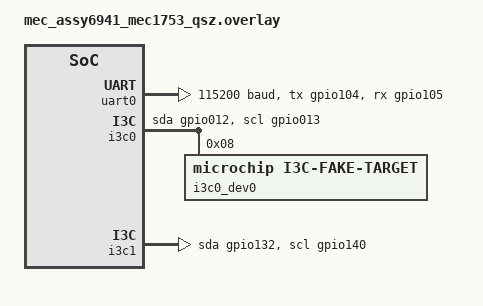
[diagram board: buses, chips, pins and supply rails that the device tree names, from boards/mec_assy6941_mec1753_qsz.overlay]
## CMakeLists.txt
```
cmake_minimum_required(VERSION 3.20.0)

# DTS_ROOT must be set before find_package(Zephyr) for binding discovery.
list(APPEND DTS_ROOT ${CMAKE_CURRENT_LIST_DIR}/../common)

find_package(Zephyr REQUIRED HINTS $ENV{ZEPHYR_BASE})
project(i3c_loopback)

# Reuse host.c and target.c from the standalone apps; no duplication.
target_sources(app PRIVATE
    src/main.c
    ../host/src/host.c
    ../target/src/target.c
    ../common/src/crc8.c
    ../common/src/i3c_fake_target.c
)

target_include_directories(app PRIVATE ../common/src)
```

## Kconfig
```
mainmenu "I3C Loopback Test Application"

source "Kconfig.zephyr"

config I3C_TEST_CASE
	int "Test group to run: 0=data_transfer 1=ccc_commands 2=ibi 3=advanced"
	default 0
	range 0 3

config I3C_TEST_CRC_CHECK
	bool "Enable CRC-8 loopback data verification"
	default y

config I3C_TARGET_ECHO_MODE
	bool "Run target as a simple echo server (enabled for loopback)"
	default y

config I3C_HOST_TARGET_PID_HI
	hex "Target PID high 16 bits (bits 47:32)"
	default 0xB012

config I3C_HOST_TARGET_PID_LO
	hex "Target PID low 32 bits (bits 31:0)"
	default 0x3456789A

config I3C_HOST_TARGET_STATIC_ADDR
	hex "Target static address used for SETDASA in DT"
	default 0x08

config I3C_FAKE_TARGET_INIT_PRIORITY
	int "Init priority for the fake target stub driver"
	default 90

config I3C_TEST_HOST_LOG_LEVEL
	int "Host module log level (0=off 1=ERR 2=WRN 3=INF 4=DBG)"
	default 3

config I3C_TEST_TARGET_LOG_LEVEL
	int "Target module log level (0=off 1=ERR 2=WRN 3=INF 4=DBG)"
	default 3
```

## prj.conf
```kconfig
CONFIG_LSM6DSV16X=n
CONFIG_LSM6DSVXXX=n
CONFIG_LPS2XDF=n
CONFIG_ICM45686=n

CONFIG_EVENTS=y
CONFIG_I3C=y
CONFIG_I3C_USE_IBI=y
CONFIG_I3C_TARGET_BUFFER_MODE=y

CONFIG_LOG=y
CONFIG_LOG_DEFAULT_LEVEL=4
CONFIG_LOG_OVERRIDE_LEVEL=4
CONFIG_LOG_MODE_IMMEDIATE=y
CONFIG_LOG_BUFFER_SIZE=4096

# Immediate logging formats on the caller's stack
CONFIG_MAIN_STACK_SIZE=4096
CONFIG_I3C_IBI_WORKQUEUE_STACK_SIZE=2048
CONFIG_STACK_SENTINEL=y
#CONFIG_DEBUG_OPTIMIZATIONS=y

CONFIG_I3C_TEST_CASE=0
CONFIG_I3C_TEST_CRC_CHECK=y
CONFIG_I3C_TARGET_ECHO_MODE=y
```

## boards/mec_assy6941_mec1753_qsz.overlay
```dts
/*
 * Copyright (c) 2026 Microchip Technology Inc.
 * SPDX-License-Identifier: Apache-2.0
 */

/ {
	chosen {
		zephyr,console = &uart0;
		zephyr,shell-uart = &uart0;
	};
};

&uart0 {
	compatible = "microchip,xec-uart";
	status = "okay";
	host-io = <0x3F8>;
	clock-frequency = <1843200>;
	current-speed = <115200>;
	girqs = <MCHP_XEC_ECIA_GIRQ_ENC(15, 0)>;
	pcr-scr = <MCHP_XEC_SCR_ENCODE(2, 1)>;
	pinctrl-0 = <&uart0_tx_gpio104 &uart0_rx_gpio105>;
	pinctrl-names = "default";
};

&uart1 {
	status = "disabled";
};

/* i3c0: primary controller (host thread) */
&i3c0 {
	pinctrl-0 = <&i3c01_host_sda_gpio012 &i3c01_host_scl_gpio013>;
	pinctrl-names = "default";
	port-sel = <1>;
	i3c-scl-hz = <DT_FREQ_K(12500)>;
	od-thigh-min-ns = <500>;
	od-tlow-min-ns = <500>;
	primary-controller-da = <0x10>;
	status = "okay";

	/*
	 * Represents i3c1 on the bus as seen by the i3c0 host.
	 * The PID and static address match the tgt-pid and static-address
	 * of &i3c1, programmed when i3c1 is initialized, so SETDASA succeeds
	 * during the i3c0 bus initialization. They also match TGT_PID /
	 * TGT_STATIC_ADDR in target/src/target.c.
	 */
	i3c0_dev0: dev0@B0123456789A {
		compatible = "microchip,i3c-fake-target";
		reg = <0x08 0xB012 0x3456789A>;
		assigned-address = <0x08>;
		status = "okay";
	};
};

/* i3c1: dual-role instance booted as I3C target (target thread) */
&i3c1 {
	pinctrl-0 = <&i3c00_target_sda_gpio132 &i3c00_target_scl_gpio140>;
	pinctrl-names = "default";
	port-sel = <0>;
	/* Device role [7:6] = target: boot as target, never as a second controller */
	bcr = <0x06>;
	/* Target identity set at init, before the i3c0 bus initialization */
	static-address = <0x08>;
	tgt-pid = <0xB012 0x3456789A>;
	maximum-read = <128>;
	maximum-write = <128>;
	status = "okay";
};
```

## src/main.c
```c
/*
 * Copyright (c) 2026 Microchip Technology Inc.
 * SPDX-License-Identifier: Apache-2.0
 */

#include <zephyr/kernel.h>
#include <zephyr/device.h>
#include <zephyr/logging/log.h>

LOG_MODULE_REGISTER(i3c_loopback, CONFIG_I3C_TEST_HOST_LOG_LEVEL);

/*
 * Negative delay defers thread start until k_thread_start() is called.
 * See Zephyr K_THREAD_DEFINE documentation.
 */
#define EC_WAIT_FOREVER               (-1)
#define I3C_HOST_TASK_PRIORITY        6u
#define I3C_HOST_TASK_STACK_SIZE      4096U
#define I3C_TARGET_TASK_PRIORITY      7u
#define I3C_TARGET_TASK_STACK_SIZE    4096U

BUILD_ASSERT(IS_POWER_OF_TWO(I3C_HOST_TASK_STACK_SIZE),
	     "I3C host task stack size must be a power of 2");
BUILD_ASSERT(IS_POWER_OF_TWO(I3C_TARGET_TASK_STACK_SIZE),
	     "I3C target task stack size must be a power of 2");

const struct device *const host_dev   = DEVICE_DT_GET(DT_NODELABEL(i3c0));
const struct device *const target_dev = DEVICE_DT_GET(DT_NODELABEL(i3c1));

/*
 * Single shared event object.  Bit allocation (must match host.c and target.c):
 *   BIT(0) = EVT_IBI_TIR_MDB_AE  — host IBI callback → host TC2
 *   BIT(1) = EVT_IBI_ANY         — host IBI callback → host TC2
 *   BIT(2) = EVT_IBI_HOTJOIN     — host HJ callback  → host TC2
 *   BIT(3) = EVT_DATA_RECEIVED   — target write_cb   → target echo loop
 *   BIT(4) = EVT_TARGET_READY    — target register   → host task startup
 */
K_EVENT_DEFINE(loopback_sync_events);

extern void i3c_host_xfer_task(void *p1, void *p2, void *p3);
extern void i3c_target_xfer_task(void *p1, void *p2, void *p3);
extern int  setup_i3c_host(const struct device *dev);
extern int  setup_i3c_target(const struct device *dev);

K_THREAD_DEFINE(host_task_id, I3C_HOST_TASK_STACK_SIZE,
		i3c_host_xfer_task,
		(void *)host_dev, (void *)&loopback_sync_events, NULL,
		I3C_HOST_TASK_PRIORITY,
		K_USER | K_INHERIT_PERMS | K_ESSENTIAL,
		EC_WAIT_FOREVER);

K_THREAD_DEFINE(target_task_id, I3C_TARGET_TASK_STACK_SIZE,
		i3c_target_xfer_task,
		(void *)target_dev, (void *)&loopback_sync_events, NULL,
		I3C_TARGET_TASK_PRIORITY,
		K_USER | K_INHERIT_PERMS | K_ESSENTIAL,
		EC_WAIT_FOREVER);

int main(void)
{
	/*
	 * Start the target thread first so it can register on i3c1 and
	 * post EVT_TARGET_READY before the host thread attempts
	 * i3c_device_find().
	 */
	if (setup_i3c_target(target_dev) != 0) {
		LOG_ERR("Target init failed — halting");
		return -1;
	}
	k_thread_start(target_task_id);

	if (setup_i3c_host(host_dev) != 0) {
		LOG_ERR("Host init failed — halting");
		return -1;
	}
	k_thread_start(host_task_id);

	k_sleep(K_FOREVER);
	return 0;
}
```
